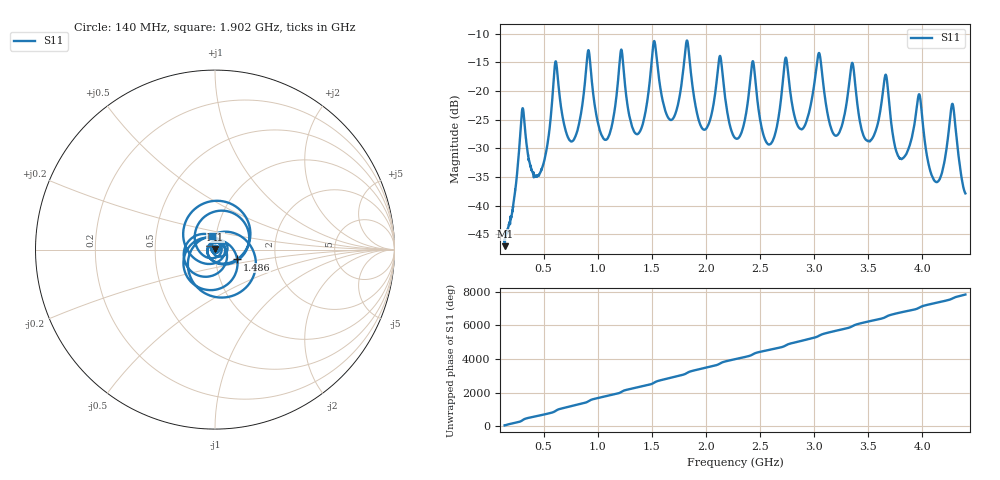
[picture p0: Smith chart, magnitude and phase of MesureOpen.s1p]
! 140 4400 1
# MHz S MA R 50.0
!freq ReS11 ImS11
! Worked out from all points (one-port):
!   4260 points, 140 MHz to 4.399 GHz, reference 50 ohm
!   lowest |S11| = -47.0 dB at 142 MHz (marker M1), VSWR 1.01, Z = 50.2 + j0.376 ohm
!   |S11| at or under -10 dB: start of sweep to end of sweep
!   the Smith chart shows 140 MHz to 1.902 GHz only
!   S11 on the Smith chart (normalised r, x): 140 MHz: 1.00, +0.01; 1.486 GHz: 1.27, -0.14; 1.902 GHz: 0.95, +0.14
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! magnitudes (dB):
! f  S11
! 140 MHz  -46.1
! 142 MHz  -47.0
! 305 MHz  -23.1
! 437 MHz  -34.9
! 610 MHz  -14.9
! 673 MHz  -24.2
! 916 MHz  -12.9
! 1.084 GHz  -28.4
! 1.205 GHz  -14.5
! 1.357 GHz  -27.5
! 1.486 GHz  -17.5
! 1.738 GHz  -22.7
! 1.825 GHz  -11.2
! 1.902 GHz  -22.3
! 2.132 GHz  -13.9
! 2.27 GHz  -28.2
! 2.433 GHz  -14.8
! 2.57 GHz  -29.2
! 2.737 GHz  -14.2
! 2.802 GHz  -22.8
! 3.047 GHz  -13.4
! 3.211 GHz  -27.7
! 3.335 GHz  -17.0
! 3.867 GHz  -30.4
! 3.972 GHz  -20.6
! 4.146 GHz  -35.8
! 4.28 GHz  -22.2
! 4.399 GHz  -37.8
